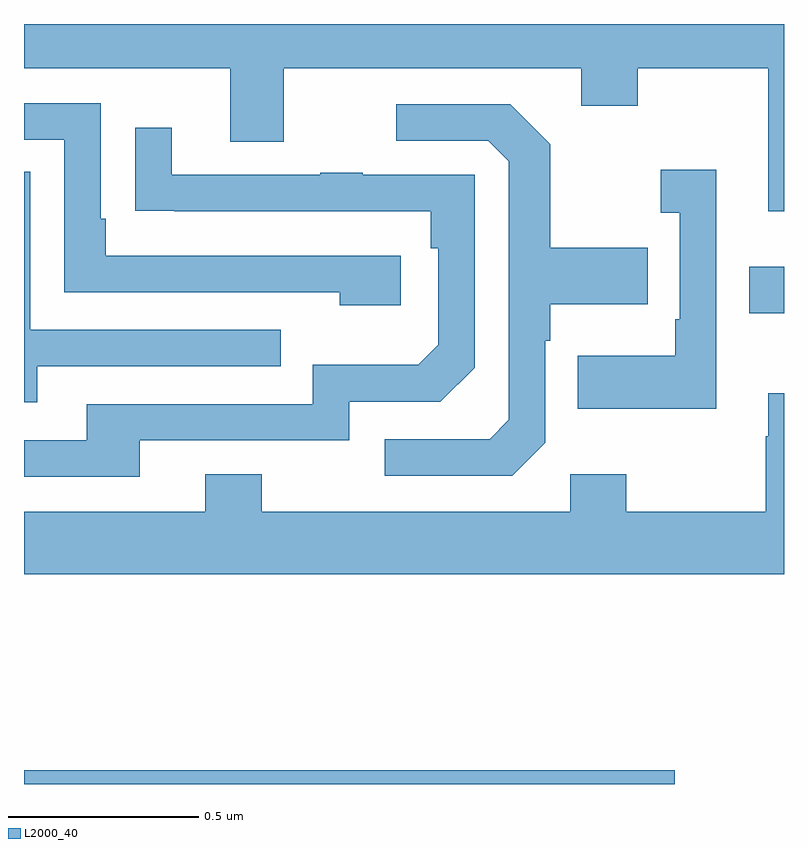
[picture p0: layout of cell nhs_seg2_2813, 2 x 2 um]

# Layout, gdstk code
import gdstk
lib = gdstk.Library(unit=1e-6, precision=1e-09)
def R(c, l, rs):  # rectangles x0, y0, x1, y1
    for r in rs: c.add(gdstk.rectangle(r[:2], r[2:], *l))
def P(c, l, *ps):  # polygons
    for p in ps: c.add(gdstk.Polygon(p, *l))
L2000_40 = (2000, 40)

nhs_seg2_2813 = lib.new_cell('nhs_seg2_2813')
R(nhs_seg2_2813, L2000_40, [(146,597.8,147.712,597.836), (147.909,599.039,148,599.161)])
P(nhs_seg2_2813, L2000_40, [(148,599.8),(146,599.8),(146,599.684),(146.543,599.684),(146.543,599.49),(146.683,599.49),(146.683,599.684),(147.467,599.684),(147.467,599.585),(147.615,599.585),(147.615,599.684),(147.959,599.684),(147.959,599.307),(148,599.307)],
  [(146.992,599.19),(146.215,599.19),(146.215,599.287),(146.202,599.287),(146.202,599.592),(146,599.592),(146,599.496),(146.106,599.496),(146.106,599.094),(146.831,599.094),(146.831,599.06),(146.992,599.06)],
  [(147.372,598.698),(147.372,598.967),(147.385,598.967),(147.385,599.063),(147.641,599.063),(147.641,599.211),(147.385,599.211),(147.385,599.483),(147.279,599.589),(146.979,599.589),(146.979,599.493),(147.222,599.493),(147.276,599.439),(147.276,598.758),(147.225,598.707),(146.949,598.707),(146.949,598.611),(147.285,598.611)],
  [(146.305,598.704),(146.856,598.704),(146.856,598.806),(147.096,598.806),(147.186,598.896),(147.186,599.403),(146.891,599.403),(146.891,599.408),(146.779,599.408),(146.779,599.403),(146.389,599.403),(146.389,599.527),(146.293,599.527),(146.293,599.308),(146.395,599.308),(146.395,599.307),(147.07,599.307),(147.07,599.21),(147.09,599.21),(147.09,598.956),(147.037,598.903),(146.76,598.903),(146.76,598.8),(146.165,598.8),(146.165,598.704),(146,598.704),(146,598.608),(146.305,598.608)],
  [(147.822,599.416),(147.675,599.416),(147.675,599.303),(147.726,599.303),(147.726,599.023),(147.714,599.023),(147.714,598.927),(147.457,598.927),(147.457,598.787),(147.822,598.787)],
  [(146.035,598.899),(146.675,598.899),(146.675,598.995),(146.016,598.995),(146.016,599.411),(146,599.411),(146,598.805),(146.035,598.805)],
  [(148,598.828),(147.959,598.828),(147.959,598.715),(147.952,598.715),(147.952,598.516),(147.585,598.516),(147.585,598.615),(147.438,598.615),(147.438,598.516),(146.625,598.516),(146.625,598.615),(146.477,598.615),(146.477,598.516),(146,598.516),(146,598.352),(148,598.352)])

lib.write_gds('nhs_seg2_2813.gds')
